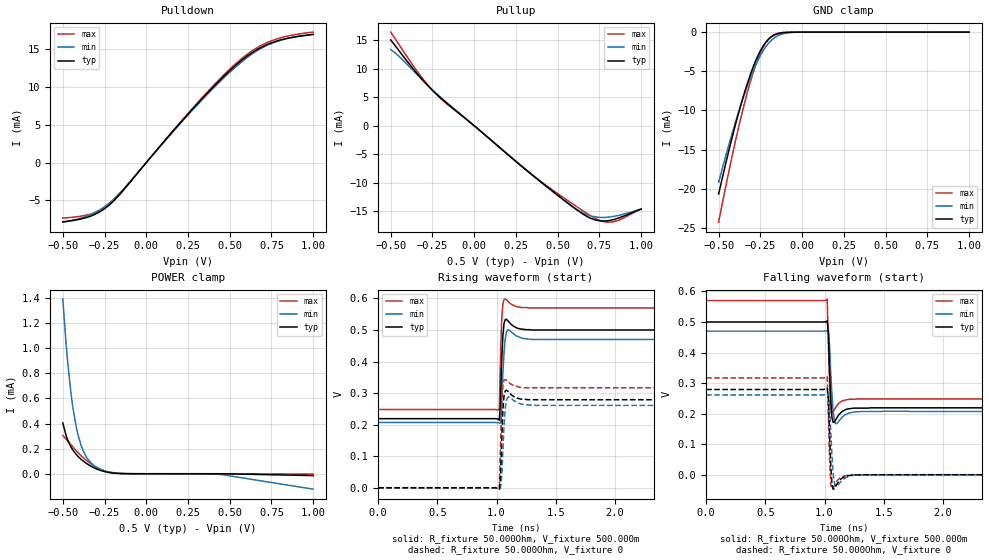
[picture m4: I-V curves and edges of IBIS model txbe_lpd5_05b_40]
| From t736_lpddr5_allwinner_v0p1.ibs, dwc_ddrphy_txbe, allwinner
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[Model] txbe_lpd5_05b_40
Model_type   I/O
Polarity   Non-Inverting
Enable   Active-High
C_comp   1.524pF   1.517pF   1.53pF
C_comp_pullup   285.267fF   277.290fF   288.625fF
C_comp_pulldown   1.179pF   1.178pF   1.182pF
Vinh = 310.000mV
Vinl = 190.000mV
Vmeas = 250.000mV
Vref = 250.000mV
Rref = 50Ohms
Cref = 0pF
[Model Spec]
Vinh   310.000mV   295.000mV   345.000mV
Vinl   190.000mV   175.000mV   225.000mV
Vmeas   250.000mV   235.000mV   285.000mV
Vref   250.000mV   235.000mV   285.000mV
D_overshoot_ampl_h 0.1 NA   NA
D_overshoot_ampl_l 0.1 NA   NA
D_overshoot_area_l 300.000m NA   NA
D_overshoot_area_h 300.000m NA   NA
[Receiver Thresholds]
Vth = 125.000mV
Vth_min = 118.000mV
Vth_max = 143.000mV
Vinh_ac = 60.000mV
Vinh_dc = 60.000mV
Vinl_ac = -60.000mV
Vinl_dc = -60.000mV
Tslew_ac = 5.000ns
Threshold_sensitivity = 0.5
Reference_supply Pullup_ref
[Temperature Range]   25.000   125.000   -40.000
[Voltage Range]   500.000mV   470.000mV   570.000mV
[GND Clamp Reference]   0.00V   0.00V   0.00V
[C Comp Corner]
| variable   typ   min   max
C_comp   1.524pF   1.517pF   1.53pF
C_comp_pullup   285.267fF   277.290fF   288.625fF
C_comp_pulldown   1.179pF   1.178pF   1.182pF
[Pulldown Reference]   0.00V   0.00V   0.00V
[POWER Clamp Reference]   500.000mV   470.000mV   570.000mV
[Pullup Reference]   500.000mV   470.000mV   570.000mV
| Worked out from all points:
|   slope of the pulldown table from 0 to 0.075 V, typ, clamps not added: 38.2 ohm
|   slope of the pullup table from 0 to 0.075 V, typ, clamps not added: 39.9 ohm
|   GND clamp passes 1 mA (typ) near -0.21 V on its own axis
|   rising waveform, R_fixture 50.000Ohm, V_fixture 500.000m: 20-80 % time 14.9ps typ, 19.5ps min, 14.1ps max; typ from 0.219 V to 0.5 V
|   rising waveform, R_fixture 50.000Ohm, V_fixture 0: 20-80 % time 15.6ps typ, 19.9ps min, 14.5ps max; typ from 0 V to 0.279 V
|   falling waveform, R_fixture 50.000Ohm, V_fixture 500.000m: 20-80 % time 15.4ps typ, 20.2ps min, 14.3ps max; typ from 0.5 V to 0.219 V
|   falling waveform, R_fixture 50.000Ohm, V_fixture 0: 20-80 % time 15ps typ, 20.1ps min, 13.9ps max; typ from 0.279 V to 0 V
[GND Clamp]
-500mV    -20.66mA   -19.18mA   -24.28mA
-450mV    -16.12mA   -15.23mA   -18.96mA
-400mV    -11.88mA   -11.55mA   -13.99mA
-360mV    -8.788mA   -8.843mA   -10.34mA
-330mV    -6.694mA   -6.985mA   -7.85mA
-290mV    -4.276mA   -4.796mA   -4.961mA
-260mV    -2.801mA   -3.408mA   -3.189mA
-220mV    -1.359mA   -1.949mA   -1.457mA
-190mV    -682.3uA   -1.166mA   -666.1uA
-130mV    -118.6uA   -317.6uA   -81.42uA
-50mV     -5.925uA   -26.96uA   -2.413uA
1V        1.01uA     7.434uA    299.9nA
[Power Clamp]
-500mV    404.6uA    1.393mA    306.3uA
-480mV    303.9uA    1.031mA    275.7uA
-470mV    267.1uA    878.8uA    260.4uA
-450mV    211.3uA    630.6uA    229.8uA
-420mV    154.5uA    375.8uA    183.9uA
-380mV    103.5uA    189.2uA    130.8uA
-350mV    74.95uA    115.7uA    97.55uA
-310mV    45.62uA    61.44uA    61.27uA
-240mV    14.14uA    19.05uA    19.64uA
-150mV    1.277uA    2.728uA    1.437uA
440mV     -284.7nA   -5.375uA   -46.35nA
1V        -14.93uA   -123.1uA   -3.315uA
[Pulldown]
-500mV    -7.82mA    -7.87mA    -7.33mA
-330mV    -7.046mA   -6.824mA   -6.797mA
-260mV    -6.24mA    -5.97mA    -6.163mA
-200mV    -5.14mA    -4.92mA    -5.167mA
-130mV    -3.44mA    -3.332mA   -3.475mA
140mV     3.64mA     3.57mA     3.68mA
320mV     8.102mA    7.949mA    8.213mA
500mV     12.14mA    11.93mA    12.34mA
610mV     14.17mA    13.97mA    14.39mA
680mV     15.14mA    14.99mA    15.38mA
780mV     16.05mA    15.98mA    16.32mA
1V        16.93mA    16.94mA    17.24mA
[Pullup]
-500mV    15.09mA    13.41mA    16.47mA
-440mV    12.8mA     11.92mA    13.8mA
-330mV    8.772mA    8.62mA     9.126mA
-270mV    6.835mA    6.862mA    6.903mA
-210mV    5.136mA    5.225mA    5.027mA
350mV     -8.72mA    -8.692mA   -8.668mA
550mV     -13.35mA   -13.41mA   -12.95mA
640mV     -15.31mA   -15.18mA   -14.73mA
730mV     -16.61mA   -16.06mA   -16.37mA
810mV     -16.67mA   -16.06mA   -16.97mA
870mV     -16.19mA   -15.74mA   -16.57mA
1V        -14.69mA   -14.66mA   -14.63mA
[Ramp]
R_load=50.000Ohm
dV/dt_r   167.992mV/15.500ps  157.131mV/19.500ps  191.698mV/14.000ps
dV/dt_f   167.991mV/16.000ps  157.131mV/21.000ps  191.698mV/13.500ps
[Rising waveform]
R_fixture=50.000Ohm
V_fixture=500.000m
V_fixture_min=470.000m
V_fixture_max=570.000m
0s        219mV      207mV      248mV
1.023ns   214mV      205mV      250mV
1.033ns   270mV      205mV      410mV
1.043ns   401mV      268mV      530mV
1.053ns   482mV      363mV      582mV
1.063ns   521mV      430mV      597mV
1.073ns   533mV      473mV      598mV
1.103ns   526mV      500mV      588mV
1.293ns   500mV      470mV      570mV
10ns      500mV      470mV      570mV
[Rising waveform]
R_fixture=50.000Ohm
V_fixture=0
0s        26.3uV     230.5uV    6.254uV
1.023ns   -4.422mV   -2.118mV   1.318mV
1.033ns   32.65mV    -2.142mV   133mV
1.043ns   152mV      35.29mV    264mV
1.053ns   247mV      121mV      323mV
1.063ns   292mV      199mV      341mV
1.073ns   307mV      252mV      343mV
1.103ns   303mV      288mV      334mV
1.333ns   279mV      261mV      317mV
10ns      279mV      261mV      317mV
[Falling waveform]
R_fixture=50.000Ohm
V_fixture=500.000m
V_fixture_min=470.000m
V_fixture_max=570.000m
0s        500mV      470mV      570mV
1.023ns   504mV      471mV      575mV
1.033ns   460mV      475mV      424mV
1.043ns   339mV      421mV      299mV
1.053ns   244mV      328mV      218mV
1.063ns   187mV      263mV      202mV
1.083ns   172mV      178mV      213mV
1.103ns   185mV      167mV      226mV
1.494ns   219mV      208mV      248mV
10ns      219mV      207mV      248mV
[Falling waveform]
R_fixture=50.000Ohm
V_fixture=0
0s        279mV      261mV      317mV
1.023ns   283mV      263mV      321mV
1.033ns   248mV      266mV      186mV
1.043ns   126mV      223mV      47.36mV
1.053ns   26.47mV    138mV      -32.04mV
1.063ns   -31.24mV   62.8mV     -47.06mV
1.083ns   -45.65mV   -26.3mV    -35.11mV
1.103ns   -31.96mV   -37.78mV   -21.8mV
1.323ns   -191.6uV   -56.97uV   -305.8uV
10ns      28.64uV    230.8uV    7.18uV
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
